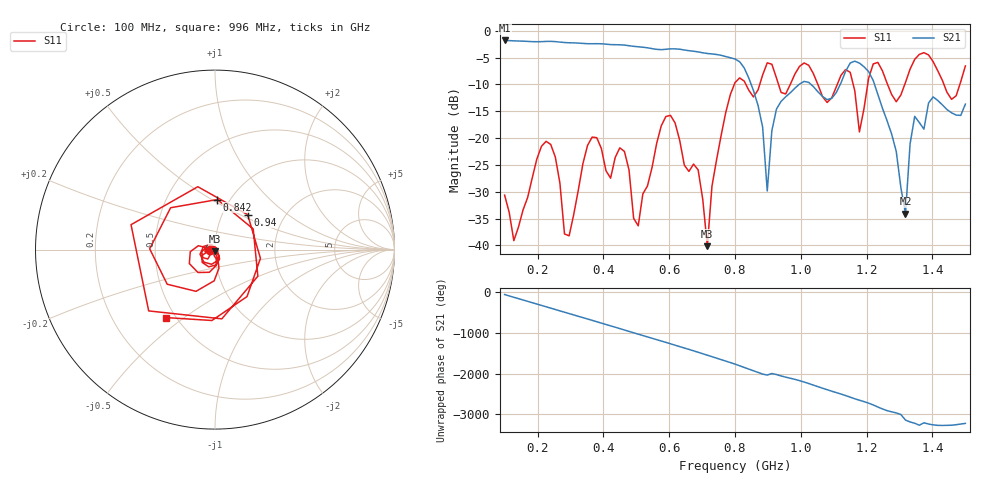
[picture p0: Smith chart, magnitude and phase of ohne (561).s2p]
! NanoVNA-App
! Date: 2025-09-25 14:25:10
! Start: 100MHz Stop: 1,5GHz Points: 101
! S-Parameter data: F S11 S21 S12 S22
# Hz S RI R 50
!  Frequency  S11_Real  S11_Imag  S21_Real  S21_Imag  S12_Real  S12_Imag  S22_Real  S22_Imag
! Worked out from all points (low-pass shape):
!   101 points, 100 MHz to 1.5 GHz, reference 50 ohm
!   highest |S21| = -1.79 dB at 100 MHz (marker M1); lowest = -34.1 dB at 1.318 GHz (marker M2)
!   |S21| within 3 dB of the highest: start of sweep to 772.1 MHz
!   lowest |S11| = -40.2 dB at 716 MHz (marker M3), VSWR 1.02, Z = 49.8 - j0.968 ohm
!   |S11| at or under -10 dB: start of sweep to 797.8 MHz; 833.1 MHz to 875.1 MHz (41.98 MHz wide, 4.91 % of centre); 1.052 GHz to 1.111 GHz (58.92 MHz wide, 5.45 % of centre) (the widest 3 of 7)
!   S12 and S22 are empty: the file has one direction only
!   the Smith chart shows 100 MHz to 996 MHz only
!   S11 on the Smith chart (normalised r, x): 100 MHz: 0.94, -0.01; 842 MHz: 0.88, +0.53; 940 MHz: 1.31, +0.55; 996 MHz: 0.44, -0.43
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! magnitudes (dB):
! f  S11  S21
! 100 MHz  -30.6  -1.8
! 128 MHz  -39.1  -1.9
! 226 MHz  -20.6  -2.0
! 296 MHz  -38.2  -2.2
! 338 MHz  -24.7  -2.3
! 464 MHz  -22.5  -2.7
! 506 MHz  -36.4  -3.0
! 576 MHz  -17.7  -3.5
! 688 MHz  -25.9  -3.9
! 716 MHz  -40.2  -4.2
! 800 MHz  -9.7  -5.2
! 842 MHz  -11.1  -8.8
! 898 MHz  -6.0  -29.9
! 940 MHz  -11.5  -13.2
! 996 MHz  -6.6  -9.9
! 1.038 GHz  -8.0  -10.4
! 1.178 GHz  -18.8  -6.0
! 1.22 GHz  -6.2  -9.3
! 1.276 GHz  -11.9  -19.3
! 1.318 GHz  -9.6  -34.1
! 1.346 GHz  -5.3  -16.0
! 1.5 GHz  -6.5  -13.7
